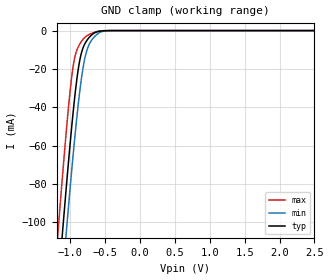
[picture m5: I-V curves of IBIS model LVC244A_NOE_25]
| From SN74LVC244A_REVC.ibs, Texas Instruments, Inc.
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[Model]   LVC244A_NOE_25
Model_type  Input
Vinl=0.7
Vinh=1.7
| variable   typ   min   max
C_comp   2.58pF   2.07pF   3.26pF
[Temperature Range]   40   100   -40
| Ambient temperature   25   85   -40
[Voltage range]   2.5   2.3   2.7
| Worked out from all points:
|   GND clamp passes 1 mA (typ) near -0.64 V on its own axis
[GND Clamp]
| LVC244A_NOE_25
|   Voltage   I(typ)   I(min)   I(max)
-5.5V     -2.303A    -2.296A    -2.31A
-1.18V    -134.8mA   -158.2mA   -105.7mA
-1.12V    -107.8mA   -131.4mA   -78.37mA
-1.07V    -85.97mA   -109.6mA   -56.7mA
-1.055V   -79.59mA   -103.1mA   -50.5mA
-965mV    -43.83mA   -66.22mA   -19.51mA
-925mV    -30.3mA    -51.14mA   -12.01mA
-865mV    -15.24mA   -31.21mA   -6.925mA
-810mV    -8.148mA   -17.45mA   -4.19mA
-765mV    -5.168mA   -10.4mA    -2.744mA
-625mV    -729.3uA   -2.13mA    -560.8uA
2.5V      57.25pA    177pA      32.61pA
